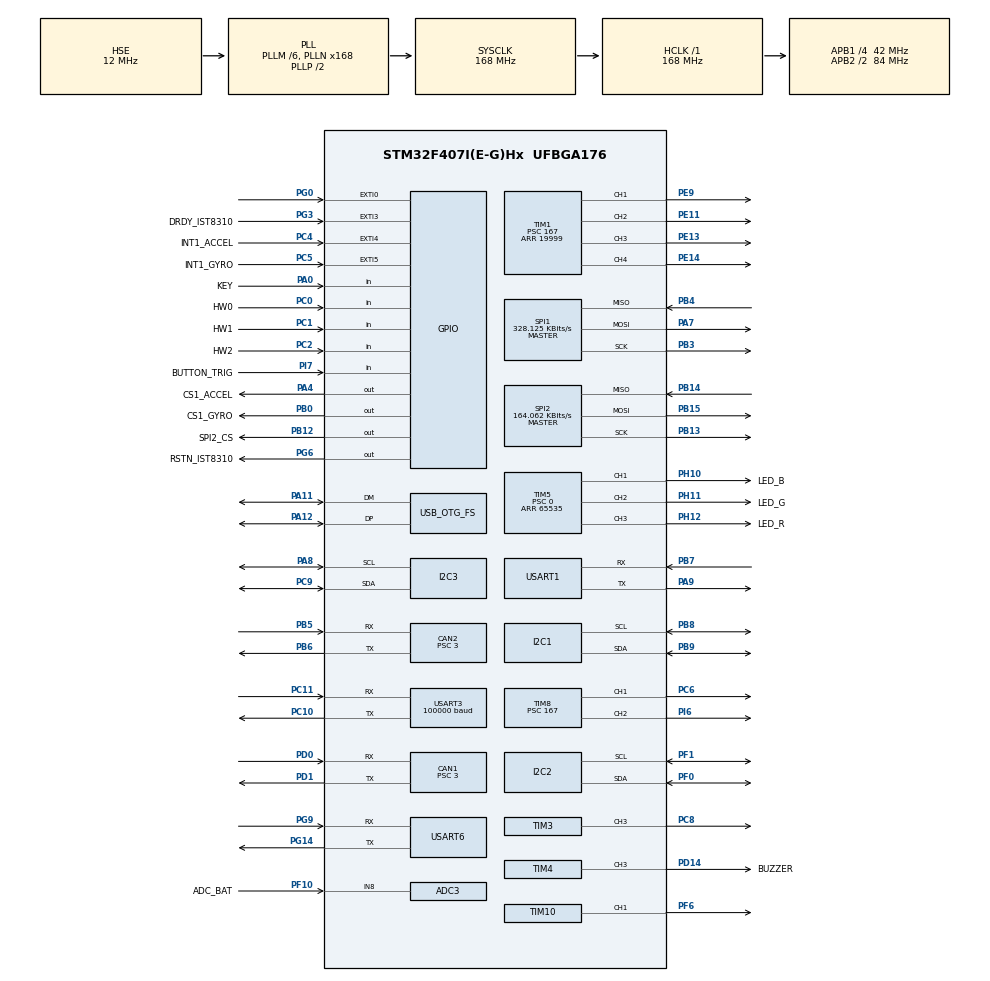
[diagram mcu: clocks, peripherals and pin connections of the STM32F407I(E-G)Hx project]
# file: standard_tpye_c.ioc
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ADC1.Channel-0\#ChannelRegularConversion=ADC_CHANNEL_TEMPSENSOR
ADC1.ClockPrescaler=ADC_CLOCK_SYNC_PCLK_DIV6
ADC1.NbrOfConversionFlag=1
ADC1.Rank-0\#ChannelRegularConversion=1
ADC1.SamplingTime-0\#ChannelRegularConversion=ADC_SAMPLETIME_3CYCLES
ADC1.master=1
ADC3.Channel-0\#ChannelRegularConversion=ADC_CHANNEL_8
ADC3.ClockPrescaler=ADC_CLOCK_SYNC_PCLK_DIV6
ADC3.NbrOfConversionFlag=1
ADC3.Rank-0\#ChannelRegularConversion=1
ADC3.SamplingTime-0\#ChannelRegularConversion=ADC_SAMPLETIME_3CYCLES
CAN1.ABOM=ENABLE
CAN1.BS1=CAN_BS1_10TQ
CAN1.BS2=CAN_BS2_3TQ
CAN1.CalculateTimeQuantum=71.42857142857143
CAN1.Prescaler=3
CAN2.ABOM=ENABLE
CAN2.BS1=CAN_BS1_10TQ
CAN2.BS2=CAN_BS2_3TQ
CAN2.CalculateTimeQuantum=71.42857142857143
CAN2.Prescaler=3
Dma.I2C2_TX.2.Direction=DMA_MEMORY_TO_PERIPH
Dma.I2C2_TX.2.FIFOMode=DMA_FIFOMODE_DISABLE
Dma.I2C2_TX.2.Instance=DMA1_Stream7
Dma.I2C2_TX.2.MemDataAlignment=DMA_MDATAALIGN_BYTE
Dma.I2C2_TX.2.MemInc=DMA_MINC_ENABLE
Dma.I2C2_TX.2.Mode=DMA_NORMAL
Dma.I2C2_TX.2.PeriphDataAlignment=DMA_PDATAALIGN_BYTE
Dma.I2C2_TX.2.PeriphInc=DMA_PINC_DISABLE
Dma.I2C2_TX.2.Priority=DMA_PRIORITY_HIGH
Dma.Request0=SPI1_RX
Dma.Request1=SPI1_TX
Dma.Request2=I2C2_TX
Dma.Request3=USART3_RX
Dma.Request4=USART6_RX
Dma.Request5=USART6_TX
Dma.Request6=USART1_TX
Dma.Request7=USART1_RX
Dma.SPI1_RX.0.Direction=DMA_PERIPH_TO_MEMORY
Dma.SPI1_RX.0.FIFOMode=DMA_FIFOMODE_DISABLE
Dma.SPI1_RX.0.Instance=DMA2_Stream2
Dma.SPI1_RX.0.MemDataAlignment=DMA_MDATAALIGN_BYTE
Dma.SPI1_RX.0.MemInc=DMA_MINC_ENABLE
Dma.SPI1_RX.0.Mode=DMA_NORMAL
Dma.SPI1_RX.0.PeriphDataAlignment=DMA_PDATAALIGN_BYTE
Dma.SPI1_RX.0.PeriphInc=DMA_PINC_DISABLE
Dma.SPI1_RX.0.Priority=DMA_PRIORITY_VERY_HIGH
Dma.SPI1_TX.1.Direction=DMA_MEMORY_TO_PERIPH
Dma.SPI1_TX.1.FIFOMode=DMA_FIFOMODE_DISABLE
Dma.SPI1_TX.1.Instance=DMA2_Stream3
Dma.SPI1_TX.1.MemDataAlignment=DMA_MDATAALIGN_BYTE
Dma.SPI1_TX.1.MemInc=DMA_MINC_ENABLE
Dma.SPI1_TX.1.Mode=DMA_NORMAL
Dma.SPI1_TX.1.PeriphDataAlignment=DMA_PDATAALIGN_BYTE
Dma.SPI1_TX.1.PeriphInc=DMA_PINC_DISABLE
Dma.SPI1_TX.1.Priority=DMA_PRIORITY_HIGH
Dma.USART1_RX.7.Direction=DMA_PERIPH_TO_MEMORY
Dma.USART1_RX.7.FIFOMode=DMA_FIFOMODE_DISABLE
Dma.USART1_RX.7.Instance=DMA2_Stream5
Dma.USART1_RX.7.MemDataAlignment=DMA_MDATAALIGN_BYTE
Dma.USART1_RX.7.MemInc=DMA_MINC_ENABLE
Dma.USART1_RX.7.Mode=DMA_NORMAL
Dma.USART1_RX.7.PeriphDataAlignment=DMA_PDATAALIGN_BYTE
Dma.USART1_RX.7.PeriphInc=DMA_PINC_DISABLE
Dma.USART1_RX.7.Priority=DMA_PRIORITY_HIGH
Dma.USART1_TX.6.Direction=DMA_MEMORY_TO_PERIPH
Dma.USART1_TX.6.FIFOMode=DMA_FIFOMODE_DISABLE
Dma.USART1_TX.6.Instance=DMA2_Stream7
Dma.USART1_TX.6.MemDataAlignment=DMA_MDATAALIGN_BYTE
Dma.USART1_TX.6.MemInc=DMA_MINC_ENABLE
Dma.USART1_TX.6.Mode=DMA_NORMAL
Dma.USART1_TX.6.PeriphDataAlignment=DMA_PDATAALIGN_BYTE
Dma.USART1_TX.6.PeriphInc=DMA_PINC_DISABLE
Dma.USART1_TX.6.Priority=DMA_PRIORITY_MEDIUM
Dma.USART3_RX.3.Direction=DMA_PERIPH_TO_MEMORY
Dma.USART3_RX.3.FIFOMode=DMA_FIFOMODE_DISABLE
Dma.USART3_RX.3.Instance=DMA1_Stream1
Dma.USART3_RX.3.MemDataAlignment=DMA_MDATAALIGN_BYTE
Dma.USART3_RX.3.MemInc=DMA_MINC_ENABLE
Dma.USART3_RX.3.Mode=DMA_NORMAL
Dma.USART3_RX.3.PeriphDataAlignment=DMA_PDATAALIGN_BYTE
Dma.USART3_RX.3.PeriphInc=DMA_PINC_DISABLE
Dma.USART3_RX.3.Priority=DMA_PRIORITY_HIGH
Dma.USART6_RX.4.Direction=DMA_PERIPH_TO_MEMORY
Dma.USART6_RX.4.FIFOMode=DMA_FIFOMODE_DISABLE
Dma.USART6_RX.4.Instance=DMA2_Stream1
Dma.USART6_RX.4.MemDataAlignment=DMA_MDATAALIGN_BYTE
Dma.USART6_RX.4.MemInc=DMA_MINC_ENABLE
Dma.USART6_RX.4.Mode=DMA_NORMAL
Dma.USART6_RX.4.PeriphDataAlignment=DMA_PDATAALIGN_BYTE
Dma.USART6_RX.4.PeriphInc=DMA_PINC_DISABLE
Dma.USART6_RX.4.Priority=DMA_PRIORITY_HIGH
Dma.USART6_TX.5.Direction=DMA_MEMORY_TO_PERIPH
Dma.USART6_TX.5.FIFOMode=DMA_FIFOMODE_DISABLE
Dma.USART6_TX.5.Instance=DMA2_Stream6
Dma.USART6_TX.5.MemDataAlignment=DMA_MDATAALIGN_BYTE
Dma.USART6_TX.5.MemInc=DMA_MINC_ENABLE
Dma.USART6_TX.5.Mode=DMA_NORMAL
Dma.USART6_TX.5.PeriphDataAlignment=DMA_PDATAALIGN_BYTE
Dma.USART6_TX.5.PeriphInc=DMA_PINC_DISABLE
Dma.USART6_TX.5.Priority=DMA_PRIORITY_MEDIUM
FREERTOS.INCLUDE_eTaskGetState=1
FREERTOS.INCLUDE_pcTaskGetTaskName=1
FREERTOS.INCLUDE_uxTaskGetStackHighWaterMark=1
FREERTOS.INCLUDE_vTaskCleanUpResources=1
FREERTOS.INCLUDE_vTaskDelayUntil=1
FREERTOS.INCLUDE_xEventGroupSetBitFromISR=1
FREERTOS.INCLUDE_xQueueGetMutexHolder=1
FREERTOS.INCLUDE_xSemaphoreGetMutexHolder=1
FREERTOS.INCLUDE_xTaskAbortDelay=1
FREERTOS.INCLUDE_xTaskGetCurrentTaskHandle=1
FREERTOS.INCLUDE_xTaskGetHandle=1
FREERTOS.INCLUDE_xTimerPendFunctionCall=1
FREERTOS.Tasks01=test,24,128,test_task,As weak,NULL,Dynamic,NULL,NULL
FREERTOS.configTOTAL_HEAP_SIZE=24576
I2C1.I2C_Mode=I2C_Fast
I2C2.I2C_Mode=I2C_Fast
I2C3.I2C_Mode=I2C_Fast
Mcu.Family=STM32F4
Mcu.Name=STM32F407I(E-G)Hx
Mcu.Package=UFBGA176
NVIC.CAN1_RX0_IRQn=true\:6\:0\:true\:false\:true\:true\:true\:true
NVIC.CAN2_RX1_IRQn=true\:6\:0\:true\:false\:true\:true\:true\:true
NVIC.DMA1_Stream1_IRQn=true\:5\:0\:true\:false\:false\:true\:false\:false
NVIC.DMA1_Stream7_IRQn=true\:5\:0\:true\:false\:false\:true\:false\:true
NVIC.DMA2_Stream1_IRQn=true\:5\:0\:true\:false\:true\:true\:false\:true
NVIC.DMA2_Stream2_IRQn=true\:5\:0\:true\:false\:false\:true\:false\:true
NVIC.DMA2_Stream3_IRQn=true\:5\:0\:true\:false\:false\:true\:false\:true
NVIC.DMA2_Stream5_IRQn=true\:5\:0\:false\:false\:true\:true\:false\:true
NVIC.DMA2_Stream6_IRQn=true\:5\:0\:true\:false\:true\:true\:false\:true
NVIC.DMA2_Stream7_IRQn=true\:5\:0\:true\:false\:true\:true\:false\:true
NVIC.EXTI0_IRQn=true\:6\:0\:true\:false\:true\:true\:true\:true
NVIC.EXTI3_IRQn=true\:5\:0\:true\:false\:true\:true\:true\:true
NVIC.EXTI4_IRQn=true\:5\:0\:true\:false\:true\:true\:true\:true
NVIC.EXTI9_5_IRQn=true\:5\:0\:true\:false\:true\:true\:true\:true
NVIC.OTG_FS_IRQn=true\:5\:0\:false\:false\:true\:true\:false\:true
NVIC.PriorityGroup=NVIC_PRIORITYGROUP_4
NVIC.USART1_IRQn=true\:5\:0\:false\:false\:true\:true\:true\:true
NVIC.USART3_IRQn=true\:4\:0\:true\:false\:false\:false\:true\:true
NVIC.USART6_IRQn=true\:5\:0\:true\:false\:false\:true\:true\:true
PA0-WKUP.GPIO_Label=KEY
PA0-WKUP.GPIO_PuPd=GPIO_PULLUP
PA0-WKUP.Signal=GPIO_Input
PA11.Mode=Device_Only
PA11.Signal=USB_OTG_FS_DM
PA12.Mode=Device_Only
PA12.Signal=USB_OTG_FS_DP
PA13.Mode=Serial_Wire
PA13.Signal=SYS_JTMS-SWDIO
PA14.Mode=Serial_Wire
PA14.Signal=SYS_JTCK-SWCLK
PA4.GPIO_Label=CS1_ACCEL
PA4.GPIO_PuPd=GPIO_PULLUP
PA4.GPIO_Speed=GPIO_SPEED_FREQ_HIGH
PA4.PinState=GPIO_PIN_SET
PA4.Signal=GPIO_Output
PA7.GPIO_PuPd=GPIO_PULLUP
PA7.Mode=Full_Duplex_Master
PA7.Signal=SPI1_MOSI
PA8.Mode=I2C
PA8.Signal=I2C3_SCL
PA9.Mode=Asynchronous
PA9.Signal=USART1_TX
PB0.GPIO_Label=CS1_GYRO
PB0.GPIO_PuPd=GPIO_PULLUP
PB0.GPIO_Speed=GPIO_SPEED_FREQ_HIGH
PB0.PinState=GPIO_PIN_SET
PB0.Signal=GPIO_Output
PB12.GPIO_Label=SPI2_CS
PB12.GPIO_PuPd=GPIO_PULLUP
PB12.GPIO_Speed=GPIO_SPEED_FREQ_MEDIUM
PB12.PinState=GPIO_PIN_SET
PB12.Signal=GPIO_Output
PB13.GPIO_PuPd=GPIO_PULLUP
PB13.Mode=Full_Duplex_Master
PB13.Signal=SPI2_SCK
PB14.GPIO_PuPd=GPIO_PULLUP
PB14.Mode=Full_Duplex_Master
PB14.Signal=SPI2_MISO
PB15.GPIO_PuPd=GPIO_PULLUP
PB15.Mode=Full_Duplex_Master
PB15.Signal=SPI2_MOSI
PB3.GPIO_PuPd=GPIO_PULLUP
PB3.Mode=Full_Duplex_Master
PB3.Signal=SPI1_SCK
PB4.GPIO_PuPd=GPIO_PULLUP
PB4.Mode=Full_Duplex_Master
PB4.Signal=SPI1_MISO
PB5.Mode=Slave
PB5.Signal=CAN2_RX
PB6.Mode=Slave
PB6.Signal=CAN2_TX
PB7.Mode=Asynchronous
PB7.Signal=USART1_RX
PB8.Mode=I2C
PB8.Signal=I2C1_SCL
PB9.Mode=I2C
PB9.Signal=I2C1_SDA
PC0.GPIO_Label=HW0
PC0.Signal=GPIO_Input
PC1.GPIO_Label=HW1
PC1.Signal=GPIO_Input
PC10.Mode=Asynchronous
PC10.Signal=USART3_TX
PC11.Mode=Asynchronous
PC11.Signal=USART3_RX
PC2.GPIO_Label=HW2
PC2.Signal=GPIO_Input
PC4.GPIO_Label=INT1_ACCEL
PC4.GPIO_ModeDefaultEXTI=GPIO_MODE_IT_FALLING
PC4.GPIO_PuPd=GPIO_PULLUP
PC4.Signal=GPXTI4
PC5.GPIO_Label=INT1_GYRO
PC5.GPIO_ModeDefaultEXTI=GPIO_MODE_IT_FALLING
PC5.GPIO_PuPd=GPIO_PULLUP
PC5.Signal=GPXTI5
PC6.GPIO_PuPd=GPIO_PULLUP
PC6.GPIO_Speed=GPIO_SPEED_FREQ_HIGH
PC6.Signal=S_TIM8_CH1
PC8.GPIO_PuPd=GPIO_PULLUP
PC8.GPIO_Speed=GPIO_SPEED_FREQ_HIGH
PC8.Signal=S_TIM3_CH3
PC9.Mode=I2C
PC9.Signal=I2C3_SDA
PD0.Mode=Master
PD0.Signal=CAN1_RX
PD1.Mode=Master
PD1.Signal=CAN1_TX
PD14.GPIO_Label=BUZZER
PD14.GPIO_PuPd=GPIO_PULLUP
PD14.GPIO_Speed=GPIO_SPEED_FREQ_VERY_HIGH
PD14.Signal=S_TIM4_CH3
PE11.GPIO_PuPd=GPIO_PULLUP
PE11.GPIO_Speed=GPIO_SPEED_FREQ_HIGH
PE11.Signal=S_TIM1_CH2
PE13.GPIO_PuPd=GPIO_PULLUP
PE13.GPIO_Speed=GPIO_SPEED_FREQ_HIGH
PE13.Signal=S_TIM1_CH3
PE14.GPIO_PuPd=GPIO_PULLUP
PE14.GPIO_Speed=GPIO_SPEED_FREQ_HIGH
PE14.Signal=S_TIM1_CH4
PE9.GPIO_PuPd=GPIO_PULLUP
PE9.GPIO_Speed=GPIO_SPEED_FREQ_HIGH
PE9.Signal=S_TIM1_CH1
PF0.Mode=I2C
PF0.Signal=I2C2_SDA
PF1.Mode=I2C
PF1.Signal=I2C2_SCL
PF10.GPIO_Label=ADC_BAT
PF10.Mode=IN8
PF10.Signal=ADC3_IN8
PF6.GPIO_PuPd=GPIO_PULLUP
PF6.GPIO_Speed=GPIO_SPEED_FREQ_HIGH
PF6.Signal=S_TIM10_CH1
PG0.GPIO_ModeDefaultEXTI=GPIO_MODE_IT_FALLING
PG0.GPIO_PuPd=GPIO_PULLUP
PG0.Signal=GPXTI0
PG14.Mode=Asynchronous
PG14.Signal=USART6_TX
PG3.GPIO_Label=DRDY_IST8310
PG3.GPIO_ModeDefaultEXTI=GPIO_MODE_IT_FALLING
PG3.GPIO_PuPd=GPIO_PULLUP
PG3.Signal=GPXTI3
PG6.GPIO_Label=RSTN_IST8310
PG6.GPIO_PuPd=GPIO_PULLUP
PG6.GPIO_Speed=GPIO_SPEED_FREQ_MEDIUM
PG6.PinState=GPIO_PIN_SET
PG6.Signal=GPIO_Output
PG9.Mode=Asynchronous
PG9.Signal=USART6_RX
PH0-OSC_IN.Mode=HSE-External-Oscillator
PH0-OSC_IN.Signal=RCC_OSC_IN
PH1-OSC_OUT.Mode=HSE-External-Oscillator
PH1-OSC_OUT.Signal=RCC_OSC_OUT
PH10.GPIO_Label=LED_B
PH10.GPIO_PuPd=GPIO_PULLUP
PH10.GPIO_Speed=GPIO_SPEED_FREQ_HIGH
PH10.Signal=S_TIM5_CH1
PH11.GPIO_Label=LED_G
PH11.GPIO_PuPd=GPIO_PULLUP
PH11.GPIO_Speed=GPIO_SPEED_FREQ_HIGH
PH11.Signal=S_TIM5_CH2
PH12.GPIO_Label=LED_R
PH12.GPIO_PuPd=GPIO_PULLUP
PH12.GPIO_Speed=GPIO_SPEED_FREQ_HIGH
PH12.Signal=S_TIM5_CH3
PI6.GPIO_PuPd=GPIO_PULLUP
PI6.GPIO_Speed=GPIO_SPEED_FREQ_HIGH
PI6.Signal=S_TIM8_CH2
PI7.GPIO_Label=BUTTON_TRIG
PI7.GPIO_PuPd=GPIO_PULLUP
PI7.Signal=GPIO_Input
ProjectManager.HeapSize=0x2000
ProjectManager.StackSize=0x2000
ProjectManager.TargetToolchain=MDK-ARM V5
RCC.48MHZClocksFreq_Value=48000000
RCC.AHBFreq_Value=168000000
RCC.APB1CLKDivider=RCC_HCLK_DIV4
RCC.APB1Freq_Value=42000000
RCC.APB1TimFreq_Value=84000000
RCC.APB2CLKDivider=RCC_HCLK_DIV2
RCC.APB2Freq_Value=84000000
RCC.APB2TimFreq_Value=168000000
RCC.CortexFreq_Value=168000000
RCC.HCLKFreq_Value=168000000
RCC.HSE_VALUE=12000000
RCC.HSI_VALUE=16000000
RCC.LSE_VALUE=32768
RCC.PLLM=6
RCC.PLLN=168
RCC.PLLQ=7
RCC.RCC_RTC_Clock_SourceVirtual=RCC_RTCCLKSOURCE_HSE_DIV30
RCC.RCC_RTC_Clock_Source_FROM_HSE=RCC_RTCCLKSOURCE_HSE_DIV30
RCC.SYSCLKFreq_VALUE=168000000
RCC.SYSCLKSource=RCC_SYSCLKSOURCE_PLLCLK
RCC.VCOOutputFreq_Value=336000000
RTC.AsynchPrediv=124
RTC.SynchPrediv=3199
SH.S_TIM10_CH1.0=TIM10_CH1,PWM Generation1 CH1
SH.S_TIM1_CH1.0=TIM1_CH1,PWM Generation1 CH1
SH.S_TIM1_CH2.0=TIM1_CH2,PWM Generation2 CH2
SH.S_TIM1_CH3.0=TIM1_CH3,PWM Generation3 CH3
SH.S_TIM1_CH4.0=TIM1_CH4,PWM Generation4 CH4
SH.S_TIM3_CH3.0=TIM3_CH3,PWM Generation3 CH3
SH.S_TIM4_CH3.0=TIM4_CH3,PWM Generation3 CH3
SH.S_TIM5_CH1.0=TIM5_CH1,PWM Generation1 CH1
SH.S_TIM5_CH2.0=TIM5_CH2,PWM Generation2 CH2
SH.S_TIM5_CH3.0=TIM5_CH3,PWM Generation3 CH3
SH.S_TIM8_CH1.0=TIM8_CH1,PWM Generation1 CH1
SH.S_TIM8_CH2.0=TIM8_CH2,PWM Generation2 CH2
SPI1.BaudRatePrescaler=SPI_BAUDRATEPRESCALER_256
SPI1.CLKPhase=SPI_PHASE_2EDGE
SPI1.CLKPolarity=SPI_POLARITY_HIGH
SPI1.CalculateBaudRate=328.125 KBits/s
SPI1.Direction=SPI_DIRECTION_2LINES
SPI1.Mode=SPI_MODE_MASTER
SPI1.VirtualType=VM_MASTER
SPI2.BaudRatePrescaler=SPI_BAUDRATEPRESCALER_256
SPI2.CLKPhase=SPI_PHASE_2EDGE
SPI2.CLKPolarity=SPI_POLARITY_HIGH
SPI2.CalculateBaudRate=164.062 KBits/s
SPI2.Direction=SPI_DIRECTION_2LINES
SPI2.Mode=SPI_MODE_MASTER
SPI2.VirtualType=VM_MASTER
TIM1.Channel-PWM\ Generation1\ CH1=TIM_CHANNEL_1
TIM1.Channel-PWM\ Generation2\ CH2=TIM_CHANNEL_2
TIM1.Channel-PWM\ Generation3\ CH3=TIM_CHANNEL_3
TIM1.Channel-PWM\ Generation4\ CH4=TIM_CHANNEL_4
TIM1.Period=19999
TIM1.Prescaler=167
TIM1.Pulse-PWM\ Generation1\ CH1=1000
TIM1.Pulse-PWM\ Generation2\ CH2=1000
TIM1.Pulse-PWM\ Generation3\ CH3=1000
TIM1.Pulse-PWM\ Generation4\ CH4=1000
TIM10.Channel=TIM_CHANNEL_1
TIM10.Period=4999
TIM3.Channel-PWM\ Generation3\ CH3=TIM_CHANNEL_3
TIM3.Period=8399
TIM4.Channel-PWM\ Generation3\ CH3=TIM_CHANNEL_3
TIM4.Period=65535
TIM4.Prescaler=167
TIM5.Channel-PWM\ Generation1\ CH1=TIM_CHANNEL_1
TIM5.Channel-PWM\ Generation2\ CH2=TIM_CHANNEL_2
TIM5.Channel-PWM\ Generation3\ CH3=TIM_CHANNEL_3
TIM5.Period=65535
TIM5.Prescaler=0
TIM8.Channel-PWM\ Generation1\ CH1=TIM_CHANNEL_1
TIM8.Channel-PWM\ Generation2\ CH2=TIM_CHANNEL_2
TIM8.Period=19999
TIM8.Prescaler=167
TIM8.Pulse-PWM\ Generation1\ CH1=1000
TIM8.Pulse-PWM\ Generation2\ CH2=1000
USART1.VirtualMode=VM_ASYNC
USART3.BaudRate=100000
USART3.Parity=PARITY_EVEN
USART3.VirtualMode=VM_ASYNC
USART6.VirtualMode=VM_ASYNC
USB_DEVICE.CLASS_NAME_FS=CDC
USB_DEVICE.VirtualMode-CDC_FS=Cdc
USB_DEVICE.VirtualModeFS=Cdc_FS
USB_OTG_FS.VirtualMode=Device_Only
VP_ADC1_TempSens_Input.Mode=IN-TempSens
VP_ADC1_Vref_Input.Mode=IN-Vrefint
VP_CRC_VS_CRC.Mode=CRC_Activate
VP_FREERTOS_VS_CMSIS_V1.Mode=CMSIS_V1
VP_RNG_VS_RNG.Mode=RNG_Activate
VP_RTC_VS_RTC_Activate.Mode=RTC_Enabled
VP_TIM10_VS_ClockSourceINT.Mode=Enable_Timer
VP_TIM1_VS_ClockSourceINT.Mode=Internal
VP_TIM3_VS_ClockSourceINT.Mode=Internal
VP_TIM4_VS_ClockSourceINT.Mode=Internal
VP_TIM5_VS_ClockSourceINT.Mode=Internal
VP_TIM8_VS_ClockSourceINT.Mode=Internal
VP_USB_DEVICE_VS_USB_DEVICE_CDC_FS.Mode=CDC_FS
board=custom

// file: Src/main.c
/* USER CODE BEGIN Header */
/**
  ******************************************************************************
  * @file           : main.c
  * @brief          : Main program body
  ******************************************************************************
  * @attention
  *
  * <h2><center>&copy; Copyright (c) 2019 STMicroelectronics.
  * All rights reserved.</center></h2>
  *
  * This software component is licensed by ST under Ultimate Liberty license
  * SLA0044, the "License"; You may not use this file except in compliance with
  * the License. You may obtain a copy of the License at:
  *                             www.st.com/SLA0044
  *
  ******************************************************************************
  */
/* USER CODE END Header */

#include "main.h"
#include "cmsis_os.h"
#include "adc.h"
#include "can.h"
#include "crc.h"
#include "dma.h"
#include "i2c.h"
#include "rng.h"
#include "rtc.h"
#include "spi.h"
#include "tim.h"
#include "usart.h"
#include "usb_device.h"
#include "gpio.h"

/* USER CODE BEGIN Includes */
#include "bsp_can.h"
#include "bsp_delay.h"
#include "bsp_usart.h"
#include "remote_control.h"

#include "calibrate_task.h"
#include "chassis_task.h"
#include "detect_task.h"
#include "gimbal_task.h"
#include "INS_task.h"
#include "led_flow_task.h"
#include "oled_task.h"
#include "referee_usart_task.h"
#include "usb_task.h"
#include "voltage_task.h"
#include "SuperCap_comm.h"
#include "usb_task.h"
#include "usb_device.h"
#include "usbd_cdc_if.h"
/* USER CODE END Includes */

void SystemClock_Config(void);
void MX_FREERTOS_Init(void);

int main(void)
{

  /* MCU Configuration--------------------------------------------------------*/

  /* Reset of all peripherals, Initializes the Flash interface and the Systick. */
  HAL_Init();

  /* Configure the system clock */
  SystemClock_Config();

  /* Initialize all configured peripherals */
  MX_GPIO_Init();
  MX_DMA_Init();
  MX_ADC1_Init();
  MX_ADC3_Init();
  MX_CAN1_Init();
  MX_CAN2_Init();
  MX_I2C1_Init();
  MX_SPI1_Init();
  MX_TIM4_Init();
  MX_TIM5_Init();
  MX_USART3_UART_Init();
  MX_TIM8_Init();
  MX_CRC_Init();
  MX_RNG_Init();
  MX_I2C2_Init();
  MX_I2C3_Init();
  MX_RTC_Init();
  MX_SPI2_Init();
  MX_TIM1_Init();
  MX_TIM3_Init();
  MX_TIM10_Init();
  MX_USART1_UART_Init();
  MX_USART6_UART_Init();
  /* USER CODE BEGIN 2 */
    can_filter_init();
    delay_init();
    cali_param_init();
    remote_control_init();
    usart1_tx_dma_init();

	//SZL 3-27-2022
	superCap_comm_bothway_init();
  /* USER CODE END 2 */

  /* Call init function for freertos objects (in freertos.c) */
  MX_FREERTOS_Init();

  /* Start scheduler */
  osKernelStart();

  /* We should never get here as control is now taken by the scheduler */

  /* Infinite loop */
  while (1)
  {

  }
}

void SystemClock_Config(void)
{
  RCC_OscInitTypeDef RCC_OscInitStruct = {0};
  RCC_ClkInitTypeDef RCC_ClkInitStruct = {0};
  RCC_PeriphCLKInitTypeDef PeriphClkInitStruct = {0};

  /** Configure the main internal regulator output voltage
  */
  __HAL_RCC_PWR_CLK_ENABLE();
  __HAL_PWR_VOLTAGESCALING_CONFIG(PWR_REGULATOR_VOLTAGE_SCALE1);
  /** Initializes the CPU, AHB and APB busses clocks
  */
  RCC_OscInitStruct.OscillatorType = RCC_OSCILLATORTYPE_HSE;
  RCC_OscInitStruct.HSEState = RCC_HSE_ON;
  RCC_OscInitStruct.PLL.PLLState = RCC_PLL_ON;
  RCC_OscInitStruct.PLL.PLLSource = RCC_PLLSOURCE_HSE;
  RCC_OscInitStruct.PLL.PLLM = 6;
  RCC_OscInitStruct.PLL.PLLN = 168;
  RCC_OscInitStruct.PLL.PLLP = RCC_PLLP_DIV2;
  RCC_OscInitStruct.PLL.PLLQ = 7;
  if (HAL_RCC_OscConfig(&RCC_OscInitStruct) != HAL_OK)
  {
    Error_Handler();
  }
  /** Initializes the CPU, AHB and APB busses clocks
  */
  RCC_ClkInitStruct.ClockType = RCC_CLOCKTYPE_HCLK|RCC_CLOCKTYPE_SYSCLK
                              |RCC_CLOCKTYPE_PCLK1|RCC_CLOCKTYPE_PCLK2;
  RCC_ClkInitStruct.SYSCLKSource = RCC_SYSCLKSOURCE_PLLCLK;
  RCC_ClkInitStruct.AHBCLKDivider = RCC_SYSCLK_DIV1;
  RCC_ClkInitStruct.APB1CLKDivider = RCC_HCLK_DIV4;
  RCC_ClkInitStruct.APB2CLKDivider = RCC_HCLK_DIV2;

  if (HAL_RCC_ClockConfig(&RCC_ClkInitStruct, FLASH_LATENCY_5) != HAL_OK)
  {
    Error_Handler();
  }
  PeriphClkInitStruct.PeriphClockSelection = RCC_PERIPHCLK_RTC;
  PeriphClkInitStruct.RTCClockSelection = RCC_RTCCLKSOURCE_HSE_DIV30;
  if (HAL_RCCEx_PeriphCLKConfig(&PeriphClkInitStruct) != HAL_OK)
  {
    Error_Handler();
  }
}

void Error_Handler(void)
{
}

/************************ (C) COPYRIGHT STMicroelectronics *****END OF FILE****/

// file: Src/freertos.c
/* USER CODE BEGIN Header */
/**
  ******************************************************************************
  * File Name          : freertos.c
  * Description        : Code for freertos applications
  ******************************************************************************
  * @attention
  *
  * <h2><center>&copy; Copyright (c) 2019 STMicroelectronics.
  * All rights reserved.</center></h2>
  *
  * This software component is licensed by ST under Ultimate Liberty license
  * SLA0044, the "License"; You may not use this file except in compliance with
  * the License. You may obtain a copy of the License at:
  *                             www.st.com/SLA0044
  *
  ******************************************************************************
  */
/* USER CODE END Header */

#include "FreeRTOS.h"
#include "task.h"
#include "main.h"
#include "cmsis_os.h"

/* USER CODE BEGIN Includes */

#include "calibrate_task.h"
#include "chassis_task.h"
#include "detect_task.h"
#include "gimbal_task.h"
#include "INS_task.h"
#include "led_flow_task.h"
#include "oled_task.h"
#include "referee_usart_task.h"
#include "usb_task.h"
#include "voltage_task.h"
#include "servo_task.h"
#include "client_ui_task.h"
#include "miniPC_comm_task.h"

/* USER CODE END Includes */

/* USER CODE BEGIN PTD */

osThreadId calibrate_tast_handle;
osThreadId chassisTaskHandle;
osThreadId detect_handle;
osThreadId gimbalTaskHandle;
osThreadId imuTaskHandle;
osThreadId led_RGB_flow_handle;
osThreadId oled_handle;
osThreadId referee_usart_task_handle;
osThreadId pc_communication_task_handle; //pc_communication_task

osThreadId usb_task_handle;
osThreadId battery_voltage_handle;
osThreadId servo_task_handle;

osThreadId client_ui_task_handle;

/* USER CODE END PTD */

osThreadId testHandle;

void test_task(void const * argument);

extern void MX_USB_DEVICE_Init(void);
void MX_FREERTOS_Init(void); /* (MISRA C 2004 rule 8.1) */

/* GetIdleTaskMemory prototype (linked to static allocation support) */
void vApplicationGetIdleTaskMemory( StaticTask_t **ppxIdleTaskTCBBuffer, StackType_t **ppxIdleTaskStackBuffer, uint32_t *pulIdleTaskStackSize );

/* GetTimerTaskMemory prototype (linked to static allocation support) */
void vApplicationGetTimerTaskMemory( StaticTask_t **ppxTimerTaskTCBBuffer, StackType_t **ppxTimerTaskStackBuffer, uint32_t *pulTimerTaskStackSize );

/* USER CODE BEGIN GET_IDLE_TASK_MEMORY */
static StaticTask_t xIdleTaskTCBBuffer;
static StackType_t xIdleStack[configMINIMAL_STACK_SIZE];

void vApplicationGetIdleTaskMemory( StaticTask_t **ppxIdleTaskTCBBuffer, StackType_t **ppxIdleTaskStackBuffer, uint32_t *pulIdleTaskStackSize )
{
  *ppxIdleTaskTCBBuffer = &xIdleTaskTCBBuffer;
  *ppxIdleTaskStackBuffer = &xIdleStack[0];
  *pulIdleTaskStackSize = configMINIMAL_STACK_SIZE;
  /* place for user code */
}
/* USER CODE END GET_IDLE_TASK_MEMORY */

/* USER CODE BEGIN GET_TIMER_TASK_MEMORY */
static StaticTask_t xTimerTaskTCBBuffer;
static StackType_t xTimerStack[configTIMER_TASK_STACK_DEPTH];

void vApplicationGetTimerTaskMemory( StaticTask_t **ppxTimerTaskTCBBuffer, StackType_t **ppxTimerTaskStackBuffer, uint32_t *pulTimerTaskStackSize )
{
  *ppxTimerTaskTCBBuffer = &xTimerTaskTCBBuffer;
  *ppxTimerTaskStackBuffer = &xTimerStack[0];
  *pulTimerTaskStackSize = configTIMER_TASK_STACK_DEPTH;
  /* place for user code */
}
/* USER CODE END GET_TIMER_TASK_MEMORY */

void MX_FREERTOS_Init(void) {

  /* Create the thread(s) */
  /* definition and creation of test */
  osThreadDef(test, test_task, osPriorityNormal, 0, 128);
  testHandle = osThreadCreate(osThread(test), NULL);

  /* USER CODE BEGIN RTOS_THREADS */
  /* add threads, ... */
    osThreadDef(cali, calibrate_task, osPriorityNormal, 0, 512);
    calibrate_tast_handle = osThreadCreate(osThread(cali), NULL);

    osThreadDef(ChassisTask, chassis_task, osPriorityAboveNormal, 0, 512);
    chassisTaskHandle = osThreadCreate(osThread(ChassisTask), NULL);

    osThreadDef(DETECT, detect_task, osPriorityNormal, 0, 256);
    detect_handle = osThreadCreate(osThread(DETECT), NULL);

    osThreadDef(gimbalTask, gimbal_task, osPriorityHigh, 0, 512);
    gimbalTaskHandle = osThreadCreate(osThread(gimbalTask), NULL);

    osThreadDef(imuTask, INS_task, osPriorityRealtime, 0, 1024);
    imuTaskHandle = osThreadCreate(osThread(imuTask), NULL);

    osThreadDef(led, led_RGB_flow_task, osPriorityNormal, 0, 256);
    led_RGB_flow_handle = osThreadCreate(osThread(led), NULL);

    osThreadDef(OLED, oled_task, osPriorityNormal, 0, 256);//osPriorityLow   osPriorityNormal osPriorityHigh
    oled_handle = osThreadCreate(osThread(OLED), NULL);

    osThreadDef(REFEREE, referee_usart_task, osPriorityNormal, 0, 128);
    referee_usart_task_handle = osThreadCreate(osThread(REFEREE), NULL);

		//pc_communication_task
		osThreadDef(PCCOMMU, pc_communication_task, osPriorityNormal, 0, 256);
    pc_communication_task_handle = osThreadCreate(osThread(PCCOMMU), NULL);

    osThreadDef(USBTask, usb_task, osPriorityNormal, 0, 128);
    usb_task_handle = osThreadCreate(osThread(USBTask), NULL);

    osThreadDef(BATTERY_VOLTAGE, battery_voltage_task, osPriorityNormal, 0, 128);
    battery_voltage_handle = osThreadCreate(osThread(BATTERY_VOLTAGE), NULL);

    osThreadDef(SERVO, servo_task, osPriorityNormal, 0, 128);
    servo_task_handle = osThreadCreate(osThread(SERVO), NULL);

		osThreadDef(UI, client_ui_task, osPriorityNormal, 0, 512);
		client_ui_task_handle =  osThreadCreate(osThread(UI), NULL);
  /* USER CODE END RTOS_THREADS */

}

__weak void test_task(void const * argument)
{
  /* init code for USB_DEVICE */
  MX_USB_DEVICE_Init();

  for(;;)
  {
    osDelay(1);
  }
}

/************************ (C) COPYRIGHT STMicroelectronics *****END OF FILE****/
